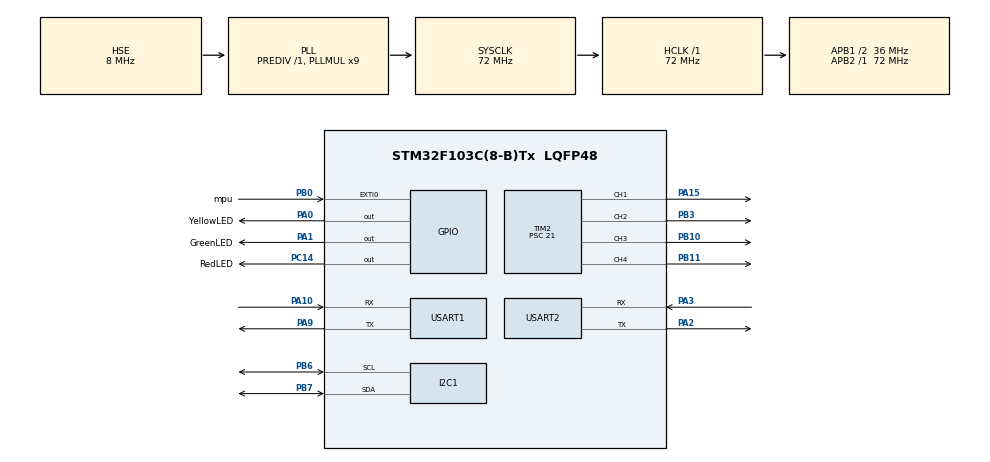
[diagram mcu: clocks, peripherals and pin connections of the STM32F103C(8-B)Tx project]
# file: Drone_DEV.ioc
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Dma.Request0=USART1_RX
Dma.Request1=USART2_TX
Dma.USART1_RX.0.Direction=DMA_PERIPH_TO_MEMORY
Dma.USART1_RX.0.Instance=DMA1_Channel5
Dma.USART1_RX.0.MemDataAlignment=DMA_MDATAALIGN_BYTE
Dma.USART1_RX.0.MemInc=DMA_MINC_ENABLE
Dma.USART1_RX.0.Mode=DMA_CIRCULAR
Dma.USART1_RX.0.PeriphDataAlignment=DMA_PDATAALIGN_BYTE
Dma.USART1_RX.0.PeriphInc=DMA_PINC_DISABLE
Dma.USART1_RX.0.Priority=DMA_PRIORITY_MEDIUM
Dma.USART2_TX.1.Direction=DMA_MEMORY_TO_PERIPH
Dma.USART2_TX.1.Instance=DMA1_Channel7
Dma.USART2_TX.1.MemDataAlignment=DMA_MDATAALIGN_BYTE
Dma.USART2_TX.1.MemInc=DMA_MINC_ENABLE
Dma.USART2_TX.1.Mode=DMA_CIRCULAR
Dma.USART2_TX.1.PeriphDataAlignment=DMA_PDATAALIGN_BYTE
Dma.USART2_TX.1.PeriphInc=DMA_PINC_DISABLE
Dma.USART2_TX.1.Priority=DMA_PRIORITY_LOW
I2C1.I2C_Mode=I2C_Fast
IWDG.Reload=47
Mcu.Family=STM32F1
Mcu.Name=STM32F103C(8-B)Tx
Mcu.Package=LQFP48
NVIC.DMA1_Channel5_IRQn=true\:0\:0\:false\:false\:true\:false\:true\:true
NVIC.DMA1_Channel7_IRQn=true\:0\:0\:false\:false\:true\:false\:true\:true
NVIC.PriorityGroup=NVIC_PRIORITYGROUP_4
NVIC.TIM3_IRQn=true\:0\:0\:false\:false\:true\:true\:true\:true
NVIC.USART2_IRQn=true\:0\:0\:false\:false\:true\:true\:true\:true
PA0-WKUP.GPIO_Label=YellowLED
PA0-WKUP.Signal=GPIO_Output
PA1.GPIO_Label=GreenLED
PA1.Signal=GPIO_Output
PA10.Mode=Asynchronous
PA10.Signal=USART1_RX
PA13.Mode=Serial_Wire
PA13.Signal=SYS_JTMS-SWDIO
PA14.Mode=Serial_Wire
PA14.Signal=SYS_JTCK-SWCLK
PA15.Signal=S_TIM2_CH1_ETR
PA2.Mode=Asynchronous
PA2.Signal=USART2_TX
PA3.Mode=Asynchronous
PA3.Signal=USART2_RX
PA9.Mode=Asynchronous
PA9.Signal=USART1_TX
PB0.GPIO_Label=mpu
PB0.GPIO_ModeDefaultEXTI=GPIO_MODE_IT_RISING
PB0.Signal=GPXTI0
PB10.Signal=S_TIM2_CH3
PB11.Signal=S_TIM2_CH4
PB3.Signal=S_TIM2_CH2
PB6.Mode=I2C
PB6.Signal=I2C1_SCL
PB7.Mode=I2C
PB7.Signal=I2C1_SDA
PC14-OSC32_IN.GPIO_Label=RedLED
PC14-OSC32_IN.Signal=GPIO_Output
PD0-OSC_IN.Mode=HSE-External-Oscillator
PD0-OSC_IN.Signal=RCC_OSC_IN
PD1-OSC_OUT.Mode=HSE-External-Oscillator
PD1-OSC_OUT.Signal=RCC_OSC_OUT
ProjectManager.HeapSize=0x200
ProjectManager.StackSize=0x400
ProjectManager.TargetToolchain=STM32CubeIDE
RCC.AHBFreq_Value=72000000
RCC.APB1CLKDivider=RCC_HCLK_DIV2
RCC.APB1Freq_Value=36000000
RCC.APB1TimFreq_Value=72000000
RCC.APB2Freq_Value=72000000
RCC.APB2TimFreq_Value=72000000
RCC.HCLKFreq_Value=72000000
RCC.PLLMUL=RCC_PLL_MUL9
RCC.PLLSourceVirtual=RCC_PLLSOURCE_HSE
RCC.SYSCLKFreq_VALUE=72000000
RCC.SYSCLKSource=RCC_SYSCLKSOURCE_PLLCLK
RCC.USBFreq_Value=72000000
SH.S_TIM2_CH1_ETR.0=TIM2_CH1,PWM Generation1 CH1
SH.S_TIM2_CH2.0=TIM2_CH2,PWM Generation2 CH2
SH.S_TIM2_CH3.0=TIM2_CH3,PWM Generation3 CH3
SH.S_TIM2_CH4.0=TIM2_CH4,PWM Generation4 CH4
TIM2.Channel-PWM\ Generation1\ CH1=TIM_CHANNEL_1
TIM2.Channel-PWM\ Generation2\ CH2=TIM_CHANNEL_2
TIM2.Channel-PWM\ Generation3\ CH3=TIM_CHANNEL_3
TIM2.Channel-PWM\ Generation4\ CH4=TIM_CHANNEL_4
TIM2.Prescaler=21
TIM3.Period=10000-1
TIM3.Prescaler=7200-1
USART1.VirtualMode=VM_ASYNC
USART2.VirtualMode=VM_ASYNC
VP_IWDG_VS_IWDG.Mode=IWDG_Activate
VP_TIM3_VS_ClockSourceINT.Mode=Internal
board=custom

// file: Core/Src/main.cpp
/* USER CODE BEGIN Header */
/**
  ******************************************************************************
  * @file           : main.c
  * @brief          : Main program body
  ******************************************************************************
  * @attention
  *
  * Copyright (c) 2023 STMicroelectronics.
  * All rights reserved.
  *
  * This software is licensed under terms that can be found in the LICENSE file
  * in the root directory of this software component.
  * If no LICENSE file comes with this software, it is provided AS-IS.
  *
  ******************************************************************************
  */
/* USER CODE END Header */
#include "main.h"
#include "dma.h"
#include "i2c.h"
#include "tim.h"
#include "usart.h"
#include "gpio.h"

/* USER CODE BEGIN Includes */
#include "imu.h"
#include "stdio.h"
#include "debug.h"
/* USER CODE END Includes */

void SystemClock_Config(void);

/* USER CODE BEGIN 0 */

extern "C"{
	int _write(int file, char *ptr, int len){

	HAL_UART_Transmit(&huart2, reinterpret_cast<uint8_t*>(ptr), len, HAL_MAX_DELAY);
			return len;
		}
}

/* USER CODE END 0 */

int main(void)
{

  /* MCU Configuration--------------------------------------------------------*/

  /* Reset of all peripherals, Initializes the Flash interface and the Systick. */
  HAL_Init();

  /* Configure the system clock */
  SystemClock_Config();

  /* Initialize all configured peripherals */
  MX_GPIO_Init();
  MX_DMA_Init();
  MX_I2C1_Init();
  MX_USART2_UART_Init();
  MX_TIM2_Init();
  MX_USART1_UART_Init();
  MX_TIM3_Init();
  I2Cdev_init(&hi2c1);
  /* USER CODE BEGIN 2 */
  IMU imu;
  if (imu.initialise(ACCEL_FS_SEL_2G, GYRO_FS_SEL_2000DPS, 0) > 0){
     Debug(printf("MPU initialised\r\n"));
  }
  /* USER CODE END 2 */

  /* Infinite loop */
  while (1)
  {

    /* USER CODE BEGIN 3 */
	  if(imu.dataReady()){

		  imu.readIMU();
		  Debug(printf("gx: %f\t gy: %f\t gz: %f\r\n",imu.Gyro(X),imu.Gyro(Y),imu.Gyro(Z)));
		  Debug(printf("ax: %f\t ay: %f\t az: %f\r\n",imu.Accel(X),imu.Accel(Y),imu.Accel(Z)));
		  Debug(printf("Yaw: %f\t Pitch: %f\t Roll: %f\r\n",imu.Yaw(),imu.Pitch(),imu.Roll()));
		  Debug(HAL_GPIO_TogglePin(LED_GPIO_Port, LED_Pin));
	  }

  }
  /* USER CODE END 3 */
}

void SystemClock_Config(void)
{
  RCC_OscInitTypeDef RCC_OscInitStruct = {0};
  RCC_ClkInitTypeDef RCC_ClkInitStruct = {0};

  /** Initializes the RCC Oscillators according to the specified parameters
  * in the RCC_OscInitTypeDef structure.
  */
  RCC_OscInitStruct.OscillatorType = RCC_OSCILLATORTYPE_HSE;
  RCC_OscInitStruct.HSEState = RCC_HSE_ON;
  RCC_OscInitStruct.HSEPredivValue = RCC_HSE_PREDIV_DIV1;
  RCC_OscInitStruct.HSIState = RCC_HSI_ON;
  RCC_OscInitStruct.PLL.PLLState = RCC_PLL_ON;
  RCC_OscInitStruct.PLL.PLLSource = RCC_PLLSOURCE_HSE;
  RCC_OscInitStruct.PLL.PLLMUL = RCC_PLL_MUL9;
  if (HAL_RCC_OscConfig(&RCC_OscInitStruct) != HAL_OK)
  {
    Error_Handler();
  }

  /** Initializes the CPU, AHB and APB buses clocks
  */
  RCC_ClkInitStruct.ClockType = RCC_CLOCKTYPE_HCLK|RCC_CLOCKTYPE_SYSCLK
                              |RCC_CLOCKTYPE_PCLK1|RCC_CLOCKTYPE_PCLK2;
  RCC_ClkInitStruct.SYSCLKSource = RCC_SYSCLKSOURCE_PLLCLK;
  RCC_ClkInitStruct.AHBCLKDivider = RCC_SYSCLK_DIV1;
  RCC_ClkInitStruct.APB1CLKDivider = RCC_HCLK_DIV2;
  RCC_ClkInitStruct.APB2CLKDivider = RCC_HCLK_DIV1;

  if (HAL_RCC_ClockConfig(&RCC_ClkInitStruct, FLASH_LATENCY_2) != HAL_OK)
  {
    Error_Handler();
  }
}

void Error_Handler(void)
{
  __disable_irq();
  while (1)
  {
  }
}
